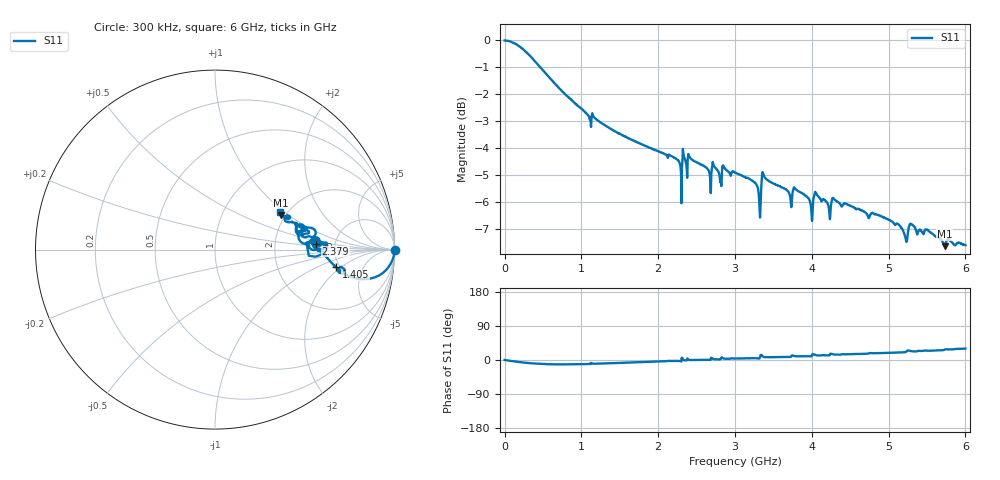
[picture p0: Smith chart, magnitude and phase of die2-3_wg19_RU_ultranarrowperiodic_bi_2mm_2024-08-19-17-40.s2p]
!Keysight Technologies,P9374A,MY57304198,A.17.20.09
!Date: Monday, August 19, 2024 17:43:47
!Correction: S11(C  1-Port  )
!S21(C  1-Port  )
!S12(Off)
!S22(Off)
!S2P File: Measurements: S11, S21, S12, S22:
# Hz S  dB  R 50
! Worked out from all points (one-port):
!   6000 points, 300 kHz to 6 GHz, reference 50 ohm
!   lowest |S11| = -7.6 dB at 5.731 GHz (marker M1), VSWR 2.42, Z = 94.9 + j43.9 ohm
!   |S11| at or under -10 dB: nowhere
!   S11 on the Smith chart (normalised r, x): 300 kHz: open; 1.405 GHz: 4.63, -1.71; 2.379 GHz: 3.54, +0.35; 6 GHz: 1.82, +0.92
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300000  0.00 -0.0  -200.00 45.0  -200.00 45.0  -200.00 45.0
2.373277e8  -0.32 -6.5  -200.00 45.0  -200.00 45.0  -200.00 45.0
4.173487e8  -0.84 -9.7  -200.00 45.0  -200.00 45.0  -200.00 45.0
1.000417e9  -2.53 -11.0  -200.00 45.0  -200.00 45.0  -200.00 45.0
1.405464e9  -3.32 -8.3  -200.00 45.0  -200.00 45.0  -200.00 45.0
2.000533e9  -4.12 -3.8  -200.00 45.0  -200.00 45.0  -200.00 45.0
2.285567e9  -4.61 -2.8  -200.00 45.0  -200.00 45.0  -200.00 45.0
2.378577e9  -4.99 3.4  -200.00 45.0  -200.00 45.0  -200.00 45.0
2.667611e9  -4.92 0.1  -200.00 45.0  -200.00 45.0  -200.00 45.0
3.00065e9  -4.91 3.9  -200.00 45.0  -200.00 45.0  -200.00 45.0
3.293684e9  -5.45 4.3  -200.00 45.0  -200.00 45.0  -200.00 45.0
3.319687e9  -6.27 4.5  -200.00 45.0  -200.00 45.0  -200.00 45.0
3.356692e9  -4.90 10.5  -200.00 45.0  -200.00 45.0  -200.00 45.0
3.466704e9  -5.27 7.3  -200.00 45.0  -200.00 45.0  -200.00 45.0
4.000767e9  -6.66 11.3  -200.00 45.0  -200.00 45.0  -200.00 45.0
4.067775e9  -5.74 12.2  -200.00 45.0  -200.00 45.0  -200.00 45.0
4.229793e9  -6.44 12.3  -200.00 45.0  -200.00 45.0  -200.00 45.0
5.000883e9  -6.66 18.9  -200.00 45.0  -200.00 45.0  -200.00 45.0
5.23091e9  -7.48 22.3  -200.00 45.0  -200.00 45.0  -200.00 45.0
5.299918e9  -6.84 23.2  -200.00 45.0  -200.00 45.0  -200.00 45.0
5.730969e9  -7.65 27.5  -200.00 45.0  -200.00 45.0  -200.00 45.0
6e9  -7.61 30.2  -200.00 45.0  -200.00 45.0  -200.00 45.0
